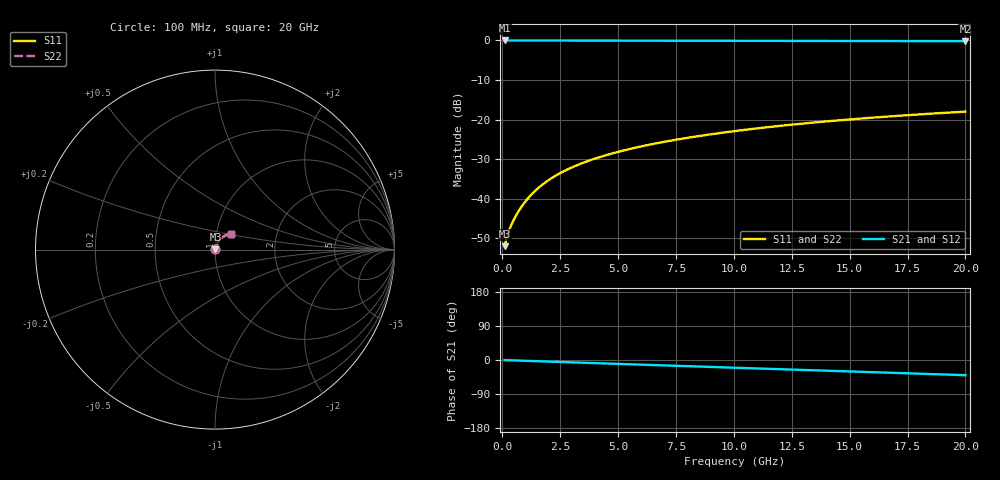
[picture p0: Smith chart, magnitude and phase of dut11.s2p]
! Touchstone file exported from HFSS 2026.1.0
!  File:  C:/ffzhzh/LocalFiles/Ansys_Project_Files/temp_val_BSMRDL_11_1782903212_8056.aedt
!  Generated:  06:54:47 PM Jul  1, 2026
!  Design:  BSMRDL
!  Project:  temp_val_BSMRDL_11_1782903212_8056
! Variables:
!  h_bsmrdl = 5.3um
!  h_ox = 20um
!  h_rdl = 5um
!  h_sub = 80um
!  h_tmrdl = 5um
!  h_tsv = 80um
!  h_via = 3um
!  l_bsmrdl = 700.82um
!  l_sub = 1100.82um
!  l_tmrdl = 200um
!  m_sub = 200um
!  pitch = 33.48um
!  r_tsv = 6um
!  s_tmrdl = 10um
!  w_bsmrdl = 24.42um
!  w_sub = 500um
!  w_tmrdl = 12um
!  x_tsv_center1 = 206um
!  x_tsv_center2 = 931.24um
!  x_tsv_center3 = 1143.24um
!  x_tsv_center4 = 1868.48um
!  x_tsv_center5 = 2080.48um
!  x_tsv_center6 = 2805.72um
# GHz S MA R 50.000000
! Terminal data exported
! Port[1] = BSM_RDL1_1_T1
! Port[2] = BSM_RDL1_1_T2
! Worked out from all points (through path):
!   200 points, 100 MHz to 20 GHz, reference 50 ohm
!   highest |S21| = -0.02 dB at 100 MHz (marker M1); lowest = -0.2 dB at 20 GHz (marker M2)
!   group delay of S21, straight-line fit = 5.54 ps
!   lowest |S11| = -52.0 dB at 100 MHz (marker M3), VSWR 1.01, Z = 50.2 + j0.123 ohm
!   |S11| at or under -10 dB: start of sweep to end of sweep
!   |S22| runs from -52.0 to -18.0 dB; largest |S21 - S12| = 3.5e-15
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0.1  0.002517 29.1  0.9978 -0.2  0.9978 -0.2  0.002517 29.1
! Gamma 0 0 0 0
! Port Impedance 50 0 50 0
0.2  0.003318 41.0  0.9975 -0.4  0.9975 -0.4  0.003318 41.0
0.3  0.004045 47.6  0.9973 -0.7  0.9973 -0.7  0.004045 47.6
0.5  0.005455 56.6  0.9971 -1.1  0.9971 -1.1  0.005455 56.6
0.6  0.006185 59.8  0.997 -1.3  0.997 -1.3  0.006185 59.8
0.8  0.007698 64.4  0.9969 -1.7  0.9969 -1.7  0.007699 64.4
1  0.009259 67.3  0.9967 -2.1  0.9967 -2.1  0.00926 67.3
1.2  0.01084 69.2  0.9965 -2.5  0.9965 -2.5  0.01084 69.2
1.4  0.01244 70.4  0.9964 -3.0  0.9964 -3.0  0.01244 70.4
1.7  0.01482 71.5  0.9961 -3.6  0.9961 -3.6  0.01483 71.5
2.2  0.01875 72.2  0.9955 -4.6  0.9955 -4.6  0.01875 72.1
2.8  0.02334 72.0  0.9948 -5.8  0.9948 -5.8  0.02335 72.0
3.5  0.02852 71.3  0.994 -7.3  0.994 -7.3  0.02853 71.3
4.2  0.03353 70.4  0.9931 -8.7  0.9931 -8.7  0.03353 70.4
5  0.03908 69.3  0.9921 -10.3  0.9921 -10.3  0.03909 69.2
5.9  0.04516 67.9  0.9911 -12.1  0.9911 -12.1  0.04517 67.9
6.8  0.05109 66.5  0.9902 -13.9  0.9902 -13.9  0.05111 66.5
8.3  0.06073 64.2  0.9886 -16.9  0.9886 -16.9  0.06075 64.1
10.1  0.07192 61.2  0.9869 -20.5  0.9869 -20.5  0.07195 61.1
13.4  0.09142 55.6  0.9837 -27.0  0.9837 -27.0  0.09147 55.4
16.7  0.1095 49.8  0.9806 -33.5  0.9806 -33.5  0.1096 49.6
20  0.1259 43.8  0.9775 -40.0  0.9775 -40.0  0.126 43.6
